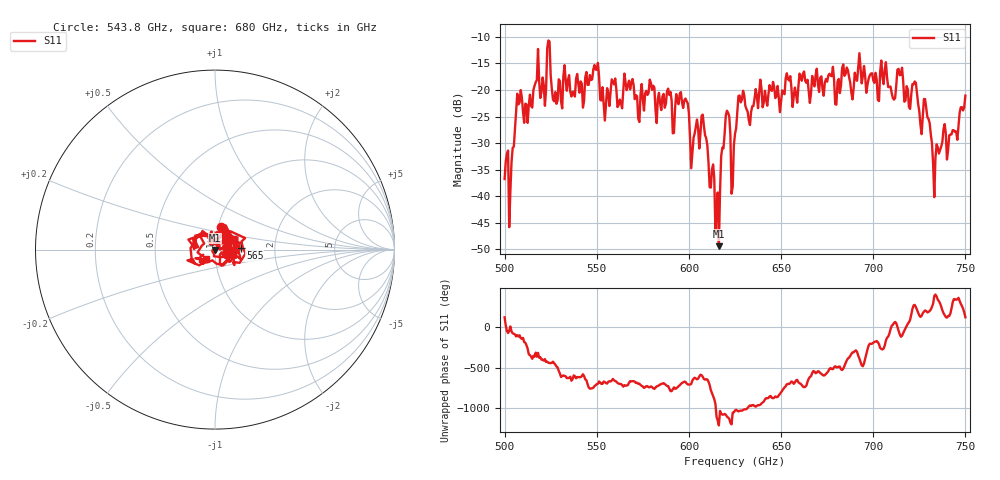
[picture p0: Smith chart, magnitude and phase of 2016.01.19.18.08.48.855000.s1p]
!Created with skrf (http://scikit-rf.org).
# GHz S RI R 50.0
!freq ReS11 ImS11
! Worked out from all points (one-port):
!   401 points, 500 GHz to 750 GHz, reference 50 ohm
!   lowest |S11| = -49.4 dB at 616.2 GHz (marker M1), VSWR 1.01, Z = 49.8 - j0.255 ohm
!   |S11| at or under -10 dB: start of sweep to end of sweep
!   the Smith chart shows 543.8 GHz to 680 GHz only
!   S11 on the Smith chart (normalised r, x): 543.8 GHz: 1.03, +0.27; 565 GHz: 1.33, +0.03; 680 GHz: 0.90, -0.10
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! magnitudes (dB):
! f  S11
! 500 GHz  -36.8
! 503.8 GHz  -33.6
! 508.1 GHz  -22.4
! 520.6 GHz  -17.7
! 523.8 GHz  -10.7
! 527.5 GHz  -20.4
! 531.2 GHz  -23.5
! 543.8 GHz  -17.6
! 549.4 GHz  -16.1
! 553.1 GHz  -19.5
! 562.5 GHz  -21.8
! 565 GHz  -16.9
! 593.8 GHz  -22.2
! 598.8 GHz  -22.1
! 601.9 GHz  -31.8
! 608.1 GHz  -26.8
! 616.2 GHz  -49.4
! 620.6 GHz  -23.9
! 625 GHz  -28.3
! 628.1 GHz  -22.3
! 656.2 GHz  -23.2
! 680 GHz  -22.8
! 687.5 GHz  -18.6
! 714.4 GHz  -17.2
! 718.8 GHz  -19.9
! 728.8 GHz  -23.4
! 733.8 GHz  -32.8
! 750 GHz  -21.1
